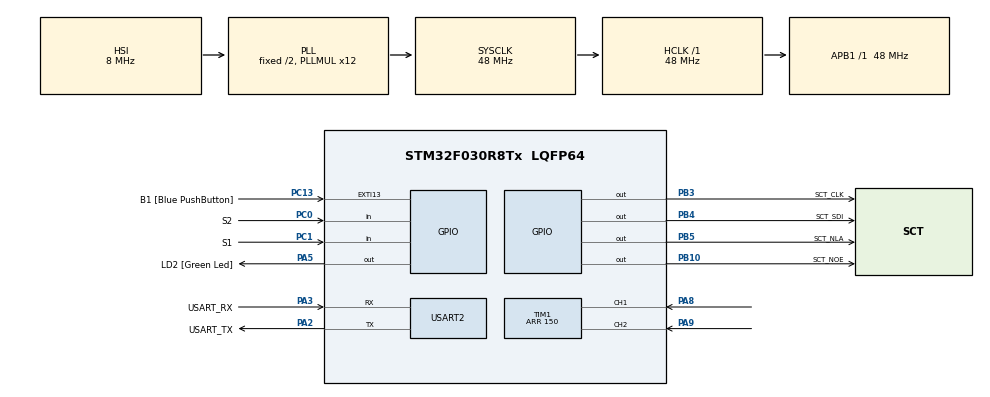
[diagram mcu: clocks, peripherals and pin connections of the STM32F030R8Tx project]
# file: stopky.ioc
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Mcu.Family=STM32F0
Mcu.Name=STM32F030R8Tx
Mcu.Package=LQFP64
PA13.GPIO_Label=TMS
PA13.Mode=Serial_Wire
PA13.Signal=SYS_SWDIO
PA14.GPIO_Label=TCK
PA14.Mode=Serial_Wire
PA14.Signal=SYS_SWCLK
PA2.GPIO_Label=USART_TX
PA2.GPIO_Mode=GPIO_MODE_AF_PP
PA2.GPIO_PuPd=GPIO_NOPULL
PA2.GPIO_Speed=GPIO_SPEED_FREQ_LOW
PA2.Mode=Asynchronous
PA2.Signal=USART2_TX
PA3.GPIO_Label=USART_RX
PA3.GPIO_Mode=GPIO_MODE_AF_PP
PA3.GPIO_PuPd=GPIO_NOPULL
PA3.GPIO_Speed=GPIO_SPEED_FREQ_LOW
PA3.Mode=Asynchronous
PA3.Signal=USART2_RX
PA5.GPIO_Label=LD2 [Green Led]
PA5.GPIO_Mode=GPIO_MODE_OUTPUT_PP
PA5.GPIO_PuPd=GPIO_NOPULL
PA5.GPIO_Speed=GPIO_SPEED_FREQ_LOW
PA5.Signal=GPIO_Output
PA8.Signal=S_TIM1_CH1
PA9.Signal=S_TIM1_CH2
PB10.GPIO_Label=SCT_NOE
PB10.Signal=GPIO_Output
PB3.GPIO_Label=SCT_CLK
PB3.Signal=GPIO_Output
PB4.GPIO_Label=SCT_SDI
PB4.Signal=GPIO_Output
PB5.GPIO_Label=SCT_NLA
PB5.Signal=GPIO_Output
PC0.GPIO_Label=S2
PC0.GPIO_PuPd=GPIO_PULLUP
PC0.Signal=GPIO_Input
PC1.GPIO_Label=S1
PC1.GPIO_PuPd=GPIO_PULLUP
PC1.Signal=GPIO_Input
PC13.GPIO_Label=B1 [Blue PushButton]
PC13.GPIO_ModeDefaultEXTI=GPIO_MODE_IT_FALLING
PC13.Signal=GPXTI13
PC14-OSC32_IN.Mode=LSE-External-Oscillator
PC14-OSC32_IN.Signal=RCC_OSC32_IN
PC15-OSC32_OUT.Mode=LSE-External-Oscillator
PC15-OSC32_OUT.Signal=RCC_OSC32_OUT
PF0-OSC_IN.Mode=HSE-External-Clock-Source
PF0-OSC_IN.Signal=RCC_OSC_IN
PF1-OSC_OUT.Signal=RCC_OSC_OUT
ProjectManager.HeapSize=0x200
ProjectManager.StackSize=0x400
ProjectManager.TargetToolchain=STM32CubeIDE
RCC.AHBFreq_Value=48000000
RCC.APB1Freq_Value=48000000
RCC.APB1TimFreq_Value=48000000
RCC.HCLKFreq_Value=48000000
RCC.PLLMUL=RCC_PLL_MUL12
RCC.SYSCLKFreq_VALUE=48000000
RCC.SYSCLKSource=RCC_SYSCLKSOURCE_PLLCLK
SH.S_TIM1_CH1.0=TIM1_CH1,Encoder_Interface
SH.S_TIM1_CH2.0=TIM1_CH2,Encoder_Interface
TIM1.IC2Polarity=TIM_ICPOLARITY_FALLING
TIM1.Period=150
USART2.VirtualMode-Asynchronous=VM_ASYNC
board=NUCLEO-F030R8

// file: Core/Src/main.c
/* USER CODE BEGIN Header */
/**
  ******************************************************************************
  * @file           : main.c
  * @brief          : Main program body
  ******************************************************************************
  * @attention
  *
  * Copyright (c) 2024 STMicroelectronics.
  * All rights reserved.
  *
  * This software is licensed under terms that can be found in the LICENSE file
  * in the root directory of this software component.
  * If no LICENSE file comes with this software, it is provided AS-IS.
  *
  ******************************************************************************
  */
/* USER CODE END Header */
#include "main.h"

/* USER CODE BEGIN Includes */
#include "sct.h"
/* USER CODE END Includes */

TIM_HandleTypeDef htim1;

UART_HandleTypeDef huart2;

void SystemClock_Config(void);
static void MX_GPIO_Init(void);
static void MX_USART2_UART_Init(void);
static void MX_TIM1_Init(void);

int main(void)
{

  /* MCU Configuration--------------------------------------------------------*/

  /* Reset of all peripherals, Initializes the Flash interface and the Systick. */
  HAL_Init();

  /* Configure the system clock */
  SystemClock_Config();

  /* Initialize all configured peripherals */
  MX_GPIO_Init();
  MX_USART2_UART_Init();
  MX_TIM1_Init();
  /* USER CODE BEGIN 2 */
  sct_init();	//nutné pro aktivaci displeje
  //definice proměných
  uint32_t time;
  uint32_t timer=0;
  time=HAL_GetTick();
  uint32_t start=0;

  /* USER CODE END 2 */

  /* Infinite loop */
  /* USER CODE BEGIN WHILE */
  while (1)
  {
	  //sct_value(10); //když něco napíšu sem tak se mi to zobrazí na displeji

	  //time = HAL_GetTick(); //timhle nacitam do time vnitrni hodiny
	  if(HAL_GetTick() > time +100 && start ==1){
		  time=HAL_GetTick();
		  timer++;
		  sct_value(timer);
	  }

	  if(HAL_GPIO_ReadPin(S1_GPIO_Port, S1_Pin) == 0){		//reset stopek  RESET
		  timer=0;
	  }

	  if(HAL_GPIO_ReadPin(S2_GPIO_Port, S2_Pin) == 0 && start==0){		//zapnutí stopek  START
		  start=1;
	  }

	  if(HAL_GPIO_ReadPin(S2_GPIO_Port, S2_Pin) == 0 && start==1){		//zastavení stopek STOP
		  start=0;
	  }

    /* USER CODE END WHILE */

  }
}

void SystemClock_Config(void)
{
  RCC_OscInitTypeDef RCC_OscInitStruct = {0};
  RCC_ClkInitTypeDef RCC_ClkInitStruct = {0};

  /** Initializes the RCC Oscillators according to the specified parameters
  * in the RCC_OscInitTypeDef structure.
  */
  RCC_OscInitStruct.OscillatorType = RCC_OSCILLATORTYPE_HSI;
  RCC_OscInitStruct.HSIState = RCC_HSI_ON;
  RCC_OscInitStruct.HSICalibrationValue = RCC_HSICALIBRATION_DEFAULT;
  RCC_OscInitStruct.PLL.PLLState = RCC_PLL_ON;
  RCC_OscInitStruct.PLL.PLLSource = RCC_PLLSOURCE_HSI;
  RCC_OscInitStruct.PLL.PLLMUL = RCC_PLL_MUL12;
  RCC_OscInitStruct.PLL.PREDIV = RCC_PREDIV_DIV1;
  if (HAL_RCC_OscConfig(&RCC_OscInitStruct) != HAL_OK)
  {
    Error_Handler();
  }

  /** Initializes the CPU, AHB and APB buses clocks
  */
  RCC_ClkInitStruct.ClockType = RCC_CLOCKTYPE_HCLK|RCC_CLOCKTYPE_SYSCLK
                              |RCC_CLOCKTYPE_PCLK1;
  RCC_ClkInitStruct.SYSCLKSource = RCC_SYSCLKSOURCE_PLLCLK;
  RCC_ClkInitStruct.AHBCLKDivider = RCC_SYSCLK_DIV1;
  RCC_ClkInitStruct.APB1CLKDivider = RCC_HCLK_DIV1;

  if (HAL_RCC_ClockConfig(&RCC_ClkInitStruct, FLASH_LATENCY_1) != HAL_OK)
  {
    Error_Handler();
  }
}

static void MX_TIM1_Init(void)
{

  TIM_Encoder_InitTypeDef sConfig = {0};
  TIM_MasterConfigTypeDef sMasterConfig = {0};

  htim1.Instance = TIM1;
  htim1.Init.Prescaler = 0;
  htim1.Init.CounterMode = TIM_COUNTERMODE_UP;
  htim1.Init.Period = 150;
  htim1.Init.ClockDivision = TIM_CLOCKDIVISION_DIV1;
  htim1.Init.RepetitionCounter = 0;
  htim1.Init.AutoReloadPreload = TIM_AUTORELOAD_PRELOAD_DISABLE;
  sConfig.EncoderMode = TIM_ENCODERMODE_TI1;
  sConfig.IC1Polarity = TIM_ICPOLARITY_RISING;
  sConfig.IC1Selection = TIM_ICSELECTION_DIRECTTI;
  sConfig.IC1Prescaler = TIM_ICPSC_DIV1;
  sConfig.IC1Filter = 0;
  sConfig.IC2Polarity = TIM_ICPOLARITY_FALLING;
  sConfig.IC2Selection = TIM_ICSELECTION_DIRECTTI;
  sConfig.IC2Prescaler = TIM_ICPSC_DIV1;
  sConfig.IC2Filter = 0;
  if (HAL_TIM_Encoder_Init(&htim1, &sConfig) != HAL_OK)
  {
    Error_Handler();
  }
  sMasterConfig.MasterOutputTrigger = TIM_TRGO_RESET;
  sMasterConfig.MasterSlaveMode = TIM_MASTERSLAVEMODE_DISABLE;
  if (HAL_TIMEx_MasterConfigSynchronization(&htim1, &sMasterConfig) != HAL_OK)
  {
    Error_Handler();
  }

}

static void MX_USART2_UART_Init(void)
{

  huart2.Instance = USART2;
  huart2.Init.BaudRate = 38400;
  huart2.Init.WordLength = UART_WORDLENGTH_8B;
  huart2.Init.StopBits = UART_STOPBITS_1;
  huart2.Init.Parity = UART_PARITY_NONE;
  huart2.Init.Mode = UART_MODE_TX_RX;
  huart2.Init.HwFlowCtl = UART_HWCONTROL_NONE;
  huart2.Init.OverSampling = UART_OVERSAMPLING_16;
  huart2.Init.OneBitSampling = UART_ONE_BIT_SAMPLE_DISABLE;
  huart2.AdvancedInit.AdvFeatureInit = UART_ADVFEATURE_NO_INIT;
  if (HAL_UART_Init(&huart2) != HAL_OK)
  {
    Error_Handler();
  }

}

static void MX_GPIO_Init(void)
{
  GPIO_InitTypeDef GPIO_InitStruct = {0};

  /* GPIO Ports Clock Enable */
  __HAL_RCC_GPIOC_CLK_ENABLE();
  __HAL_RCC_GPIOF_CLK_ENABLE();
  __HAL_RCC_GPIOA_CLK_ENABLE();
  __HAL_RCC_GPIOB_CLK_ENABLE();

  /*Configure GPIO pin Output Level */
  HAL_GPIO_WritePin(LD2_GPIO_Port, LD2_Pin, GPIO_PIN_RESET);

  /*Configure GPIO pin Output Level */
  HAL_GPIO_WritePin(GPIOB, SCT_NOE_Pin|SCT_CLK_Pin|SCT_SDI_Pin|SCT_NLA_Pin, GPIO_PIN_RESET);

  /*Configure GPIO pin : B1_Pin */
  GPIO_InitStruct.Pin = B1_Pin;
  GPIO_InitStruct.Mode = GPIO_MODE_IT_FALLING;
  GPIO_InitStruct.Pull = GPIO_NOPULL;
  HAL_GPIO_Init(B1_GPIO_Port, &GPIO_InitStruct);

  /*Configure GPIO pins : S2_Pin S1_Pin */
  GPIO_InitStruct.Pin = S2_Pin|S1_Pin;
  GPIO_InitStruct.Mode = GPIO_MODE_INPUT;
  GPIO_InitStruct.Pull = GPIO_PULLUP;
  HAL_GPIO_Init(GPIOC, &GPIO_InitStruct);

  /*Configure GPIO pin : LD2_Pin */
  GPIO_InitStruct.Pin = LD2_Pin;
  GPIO_InitStruct.Mode = GPIO_MODE_OUTPUT_PP;
  GPIO_InitStruct.Pull = GPIO_NOPULL;
  GPIO_InitStruct.Speed = GPIO_SPEED_FREQ_LOW;
  HAL_GPIO_Init(LD2_GPIO_Port, &GPIO_InitStruct);

  /*Configure GPIO pins : SCT_NOE_Pin SCT_CLK_Pin SCT_SDI_Pin SCT_NLA_Pin */
  GPIO_InitStruct.Pin = SCT_NOE_Pin|SCT_CLK_Pin|SCT_SDI_Pin|SCT_NLA_Pin;
  GPIO_InitStruct.Mode = GPIO_MODE_OUTPUT_PP;
  GPIO_InitStruct.Pull = GPIO_NOPULL;
  GPIO_InitStruct.Speed = GPIO_SPEED_FREQ_LOW;
  HAL_GPIO_Init(GPIOB, &GPIO_InitStruct);

}

void Error_Handler(void)
{
  __disable_irq();
  while (1)
  {
  }
}
